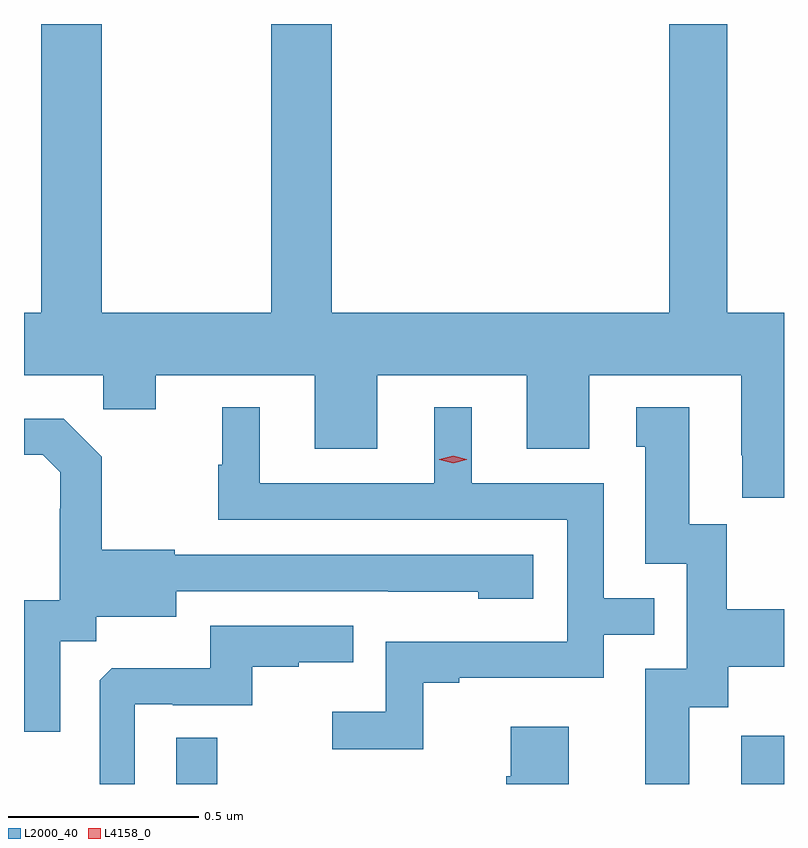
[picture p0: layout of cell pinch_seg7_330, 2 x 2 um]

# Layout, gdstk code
import gdstk
lib = gdstk.Library(unit=1e-6, precision=1e-09)
def R(c, l, rs):  # rectangles x0, y0, x1, y1
    for r in rs: c.add(gdstk.rectangle(r[:2], r[2:], *l))
def P(c, l, *ps):  # polygons
    for p in ps: c.add(gdstk.Polygon(p, *l))
L2000_40 = (2000, 40)
L4158_0 = (4158, 0)

pinch_seg7_330 = lib.new_cell('pinch_seg7_330')
R(pinch_seg7_330, L2000_40, [(498.066,1051.488,498.175,1051.61), (499.553,1051.488,499.666,1051.615)])
P(pinch_seg7_330, L2000_40, [(499.666,1052.728),(499.516,1052.728),(499.516,1053.488),(499.364,1053.488),(499.364,1052.728),(498.476,1052.728),(498.476,1053.488),(498.316,1053.488),(498.316,1052.728),(497.871,1052.728),(497.871,1053.488),(497.711,1053.488),(497.711,1052.728),(497.666,1052.728),(497.666,1052.564),(497.875,1052.564),(497.875,1052.474),(498.013,1052.474),(498.013,1052.564),(498.431,1052.564),(498.431,1052.37),(498.595,1052.37),(498.595,1052.564),(498.989,1052.564),(498.989,1052.37),(499.153,1052.37),(499.153,1052.564),(499.553,1052.564),(499.553,1052.353),(499.556,1052.353),(499.556,1052.241),(499.666,1052.241)],
  [(499.417,1051.69),(499.519,1051.69),(499.519,1051.796),(499.666,1051.796),(499.666,1051.948),(499.515,1051.948),(499.515,1052.171),(499.417,1052.171),(499.417,1052.479),(499.277,1052.479),(499.277,1052.376),(499.301,1052.376),(499.301,1052.067),(499.41,1052.067),(499.41,1051.791),(499.301,1051.791),(499.301,1051.488),(499.417,1051.488)],
  [(498.717,1051.755),(498.811,1051.755),(498.811,1051.767),(499.191,1051.767),(499.191,1051.881),(499.325,1051.881),(499.325,1051.977),(499.191,1051.977),(499.191,1052.28),(498.844,1052.28),(498.844,1052.479),(498.746,1052.479),(498.746,1052.28),(498.286,1052.28),(498.286,1052.479),(498.188,1052.479),(498.188,1052.328),(498.177,1052.328),(498.177,1052.184),(499.095,1052.184),(499.095,1051.863),(498.618,1051.863),(498.618,1051.678),(498.477,1051.678),(498.477,1051.58),(498.717,1051.58)],
  [(497.761,1051.864),(497.856,1051.864),(497.856,1051.928),(498.067,1051.928),(498.067,1051.995),(498.625,1051.995),(498.625,1051.994),(498.861,1051.994),(498.861,1051.976),(499.006,1051.976),(499.006,1052.091),(498.063,1052.091),(498.063,1052.104),(497.871,1052.104),(497.871,1052.349),(497.771,1052.449),(497.666,1052.449),(497.666,1052.355),(497.715,1052.355),(497.762,1052.308),(497.762,1052.213),(497.76,1052.213),(497.76,1051.972),(497.666,1051.972),(497.666,1051.626),(497.761,1051.626)],
  [(497.958,1051.698),(498.058,1051.698),(498.058,1051.695),(498.266,1051.695),(498.266,1051.797),(498.389,1051.797),(498.389,1051.808),(498.533,1051.808),(498.533,1051.905),(498.156,1051.905),(498.156,1051.793),(497.897,1051.793),(497.865,1051.761),(497.865,1051.488),(497.958,1051.488)],
  [(499.099,1051.639),(498.947,1051.639),(498.947,1051.509),(498.935,1051.509),(498.935,1051.488),(499.099,1051.488)])
P(pinch_seg7_330, L4158_0, [(498.795,1052.332),(498.759,1052.341),(498.759,1052.342),(498.759,1052.342),(498.795,1052.352),(498.831,1052.342),(498.831,1052.342),(498.831,1052.341)])

lib.write_gds('pinch_seg7_330.gds')
